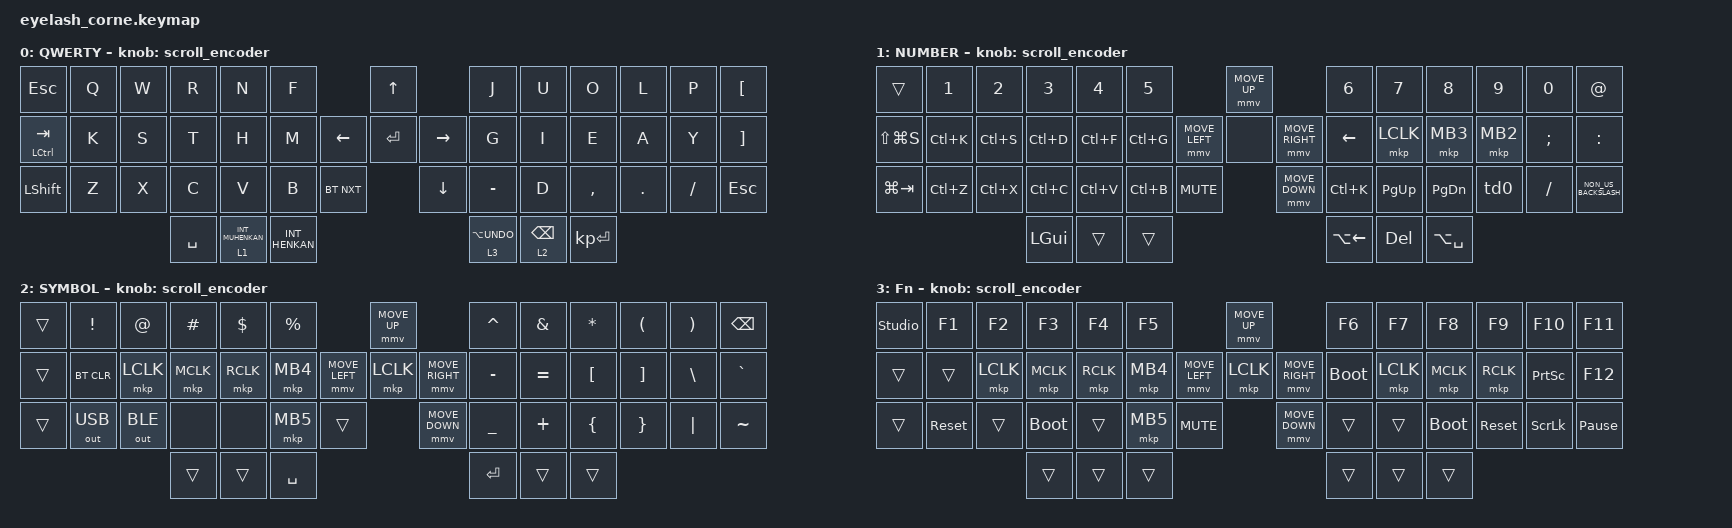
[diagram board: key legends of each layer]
#include <dt-bindings/zmk/mouse.h>
#include <input/processors.dtsi>
#include <behaviors.dtsi>
#include <dt-bindings/zmk/bt.h>
#include <dt-bindings/zmk/keys.h>
#include <dt-bindings/zmk/outputs.h>
#include <dt-bindings/zmk/pointing.h>
#include <dt-bindings/zmk/rgb.h>

/*

   &mmv_input_listener {
       input-processors = <&zip_xy_scaler 2 1>;
   };

   &msc_input_listener {
       input-processors = <&zip_xy_scaler 2 1>;
   };

 */

#define ZMK_MOUSE_DEFAULT_MOVE_VAL 1200  // 600
#define ZMK_MOUSE_DEFAULT_SCRL_VAL 20    // 10

#define COMBO(NAME, BINDINGS, KEYPOS) \
  combo_##NAME { \
    timeout-ms = <50>; \
    bindings = <BINDINGS>; \
    key-positions = <KEYPOS>; \
    layers = <0>; \
  };

/ {
    behaviors {
        td0: td0 {
            compatible = "zmk,behavior-tap-dance";
            display-name = "Shift/Caps Lock Tap Dance";
            #binding-cells = <0>;
            bindings = <&kp LEFT_SHIFT>, <&kp CAPS>;
        };
    };

    rgb_encoder: rgb_encoder {
        compatible = "zmk,behavior-sensor-rotate";
        #sensor-binding-cells = <0>;
        bindings = <&rgb_ug RGB_BRI>, <&rgb_ug RGB_BRD>;
    };

    scroll_encoder: scroll_encoder {
        compatible = "zmk,behavior-sensor-rotate";
        #sensor-binding-cells = <0>;
        bindings = <&msc SCRL_DOWN>, <&msc SCRL_UP>;

        tap-ms = <30>;
    };

    combos {
        compatible = "zmk,combos";

        COMBO(G, &kp G, 42 14)
  COMBO(Z, &kp Z, 42 15)
  COMBO(D, &kp D, 42 16)
  COMBO(B, &kp B, 42 17)
  COMBO(P, &kp P, 42 5)
    };

    macros {
        ann: ann {
            compatible = "zmk,behavior-macro";
            #binding-cells = <0>;
            bindings = <&kp A &kp N &kp N>;
            label = "ANN";
        };

        inn: inn {
            compatible = "zmk,behavior-macro";
            #binding-cells = <0>;
            bindings = <&kp I &kp N &kp N>;
            label = "INN";
        };

        unn: unn {
            compatible = "zmk,behavior-macro";
            #binding-cells = <0>;
            bindings = <&kp U &kp N &kp N>;
            label = "UNN";
        };

        enn: enn {
            compatible = "zmk,behavior-macro";
            #binding-cells = <0>;
            bindings = <&kp E &kp N &kp N>;
            label = "ENN";
        };

        onn: onn {
            compatible = "zmk,behavior-macro";
            #binding-cells = <0>;
            bindings = <&kp O &kp N &kp N>;
            label = "ONN";
        };

        // k行

        kann: kann {
            compatible = "zmk,behavior-macro";
            #binding-cells = <0>;
            bindings = <&kp K &kp A &kp N &kp N>;
            label = "KANN";
        };

        kinn: kinn {
            compatible = "zmk,behavior-macro";
            #binding-cells = <0>;
            bindings = <&kp K &kp I &kp N &kp N>;
            label = "KINN";
        };

        kunn: kunn {
            compatible = "zmk,behavior-macro";
            #binding-cells = <0>;
            bindings = <&kp K &kp U &kp N &kp N>;
            label = "KUNN";
        };

        kenn: kenn {
            compatible = "zmk,behavior-macro";
            #binding-cells = <0>;
            bindings = <&kp K &kp E &kp N &kp N>;
            label = "KENN";
        };

        konn: konn {
            compatible = "zmk,behavior-macro";
            #binding-cells = <0>;
            bindings = <&kp K &kp O &kp N &kp N>;
            label = "KONN";
        };

        // s行

        sann: sann {
            compatible = "zmk,behavior-macro";
            #binding-cells = <0>;
            bindings = <&kp S &kp A &kp N &kp N>;
            label = "SANN";
        };

        sinn: sinn {
            compatible = "zmk,behavior-macro";
            #binding-cells = <0>;
            bindings = <&kp S &kp I &kp N &kp N>;
            label = "SINN";
        };

        sunn: sunn {
            compatible = "zmk,behavior-macro";
            #binding-cells = <0>;
            bindings = <&kp S &kp U &kp N &kp N>;
            label = "SUNN";
        };

        senn: senn {
            compatible = "zmk,behavior-macro";
            #binding-cells = <0>;
            bindings = <&kp S &kp E &kp N &kp N>;
            label = "SENN";
        };

        sonn: sonn {
            compatible = "zmk,behavior-macro";
            #binding-cells = <0>;
            bindings = <&kp S &kp O &kp N &kp N>;
            label = "SONN";
        };

        // t行

        tann: tann {
            compatible = "zmk,behavior-macro";
            #binding-cells = <0>;
            bindings = <&kp T &kp A &kp N &kp N>;
            label = "TANN";
        };

        tinn: tinn {
            compatible = "zmk,behavior-macro";
            #binding-cells = <0>;
            bindings = <&kp T &kp I &kp N &kp N>;
            label = "TINN";
        };

        tunn: tunn {
            compatible = "zmk,behavior-macro";
            #binding-cells = <0>;
            bindings = <&kp T &kp U &kp N &kp N>;
            label = "TUNN";
        };

        tenn: tenn {
            compatible = "zmk,behavior-macro";
            #binding-cells = <0>;
            bindings = <&kp T &kp E &kp N &kp N>;
            label = "TENN";
        };

        tonn: tonn {
            compatible = "zmk,behavior-macro";
            #binding-cells = <0>;
            bindings = <&kp T &kp O &kp N &kp N>;
            label = "TONN";
        };

        // n行

        nnann: nnann {
            compatible = "zmk,behavior-macro";
            #binding-cells = <0>;
            bindings = <&kp N &kp A &kp N &kp N>;
            label = "NNANN";
        };

        nninn: nninn {
            compatible = "zmk,behavior-macro";
            #binding-cells = <0>;
            bindings = <&kp N &kp I &kp N &kp N>;
            label = "NNINN";
        };

        nnunn: nnunn {
            compatible = "zmk,behavior-macro";
            #binding-cells = <0>;
            bindings = <&kp N &kp U &kp N &kp N>;
            label = "NNUNN";
        };

        nnenn: nnenn {
            compatible = "zmk,behavior-macro";
            #binding-cells = <0>;
            bindings = <&kp N &kp E &kp N &kp N>;
            label = "NNENN";
        };

        nnonn: nnonn {
            compatible = "zmk,behavior-macro";
            #binding-cells = <0>;
            bindings = <&kp N &kp O &kp N &kp N>;
            label = "NNONN";
        };

        // h行

        hann: hann {
            compatible = "zmk,behavior-macro";
            #binding-cells = <0>;
            bindings = <&kp H &kp A &kp N &kp N>;
            label = "HANN";
        };

        hinn: hinn {
            compatible = "zmk,behavior-macro";
            #binding-cells = <0>;
            bindings = <&kp H &kp I &kp N &kp N>;
            label = "HINN";
        };

        hunn: hunn {
            compatible = "zmk,behavior-macro";
            #binding-cells = <0>;
            bindings = <&kp H &kp U &kp N &kp N>;
            label = "HUNN";
        };

        henn: henn {
            compatible = "zmk,behavior-macro";
            #binding-cells = <0>;
            bindings = <&kp H &kp E &kp N &kp N>;
            label = "HENN";
        };

        honn: honn {
            compatible = "zmk,behavior-macro";
            #binding-cells = <0>;
            bindings = <&kp H &kp O &kp N &kp N>;
            label = "HONN";
        };

        // m行

        mann: mann {
            compatible = "zmk,behavior-macro";
            #binding-cells = <0>;
            bindings = <&kp M &kp A &kp N &kp N>;
            label = "MANN";
        };

        minn: minn {
            compatible = "zmk,behavior-macro";
            #binding-cells = <0>;
            bindings = <&kp M &kp I &kp N &kp N>;
            label = "MINN";
        };

        munn: munn {
            compatible = "zmk,behavior-macro";
            #binding-cells = <0>;
            bindings = <&kp M &kp U &kp N &kp N>;
            label = "MUNN";
        };

        menn: menn {
            compatible = "zmk,behavior-macro";
            #binding-cells = <0>;
            bindings = <&kp M &kp E &kp N &kp N>;
            label = "MENN";
        };

        monn: monn {
            compatible = "zmk,behavior-macro";
            #binding-cells = <0>;
            bindings = <&kp M &kp O &kp N &kp N>;
            label = "MONN";
        };

        // y行（y + e は存在しない）

        yann: yann {
            compatible = "zmk,behavior-macro";
            #binding-cells = <0>;
            bindings = <&kp Y &kp A &kp N &kp N>;
            label = "YANN";
        };

        yinn: yinn {
            compatible = "zmk,behavior-macro";
            #binding-cells = <0>;
            bindings = <&kp Y &kp I &kp N &kp N>;
            label = "YINN";
        };

        yunn: yunn {
            compatible = "zmk,behavior-macro";
            #binding-cells = <0>;
            bindings = <&kp Y &kp U &kp N &kp N>;
            label = "YUNN";
        };

        yonn: yonn {
            compatible = "zmk,behavior-macro";
            #binding-cells = <0>;
            bindings = <&kp Y &kp O &kp N &kp N>;
            label = "YONN";
        };

        // r行

        rann: rann {
            compatible = "zmk,behavior-macro";
            #binding-cells = <0>;
            bindings = <&kp R &kp A &kp N &kp N>;
            label = "RANN";
        };

        rinn: rinn {
            compatible = "zmk,behavior-macro";
            #binding-cells = <0>;
            bindings = <&kp R &kp I &kp N &kp N>;
            label = "RINN";
        };

        runn: runn {
            compatible = "zmk,behavior-macro";
            #binding-cells = <0>;
            bindings = <&kp R &kp U &kp N &kp N>;
            label = "RUNN";
        };

        renn: renn {
            compatible = "zmk,behavior-macro";
            #binding-cells = <0>;
            bindings = <&kp R &kp E &kp N &kp N>;
            label = "RENN";
        };

        ronn: ronn {
            compatible = "zmk,behavior-macro";
            #binding-cells = <0>;
            bindings = <&kp R &kp O &kp N &kp N>;
            label = "RONN";
        };

        // w行（実質 wa のみ）

        wann: wann {
            compatible = "zmk,behavior-macro";
            #binding-cells = <0>;
            bindings = <&kp W &kp A &kp N &kp N>;
            label = "WANN";
        };

        // 拗音マクロ定義

        kya_nn: kya_nn {
            compatible = "zmk,behavior-macro";
            #binding-cells = <0>;
            bindings = <&kp K &kp Y &kp A &kp N &kp N>;
            label = "KYA_NN";
        };

        kyu_nn: kyu_nn {
            compatible = "zmk,behavior-macro";
            #binding-cells = <0>;
            bindings = <&kp K &kp Y &kp U &kp N &kp N>;
            label = "KYU_NN";
        };

        kyo_nn: kyo_nn {
            compatible = "zmk,behavior-macro";
            #binding-cells = <0>;
            bindings = <&kp K &kp Y &kp O &kp N &kp N>;
            label = "KYO_NN";
        };

        sha_nn: sha_nn {
            compatible = "zmk,behavior-macro";
            #binding-cells = <0>;
            bindings = <&kp S &kp H &kp A &kp N &kp N>;
            label = "SHA_NN";
        };

        shu_nn: shu_nn {
            compatible = "zmk,behavior-macro";
            #binding-cells = <0>;
            bindings = <&kp S &kp H &kp U &kp N &kp N>;
            label = "SHU_NN";
        };

        sho_nn: sho_nn {
            compatible = "zmk,behavior-macro";
            #binding-cells = <0>;
            bindings = <&kp S &kp H &kp O &kp N &kp N>;
            label = "SHO_NN";
        };

        tya_nn: tya_nn {
            compatible = "zmk,behavior-macro";
            #binding-cells = <0>;
            bindings = <&kp T &kp Y &kp A &kp N &kp N>;
            label = "TYA_NN";
        };

        tyu_nn: tyu_nn {
            compatible = "zmk,behavior-macro";
            #binding-cells = <0>;
            bindings = <&kp T &kp Y &kp U &kp N &kp N>;
            label = "TYU_NN";
        };

        tyo_nn: tyo_nn {
            compatible = "zmk,behavior-macro";
            #binding-cells = <0>;
            bindings = <&kp T &kp Y &kp O &kp N &kp N>;
            label = "TYO_NN";
        };

        nya_nn: nya_nn {
            compatible = "zmk,behavior-macro";
            #binding-cells = <0>;
            bindings = <&kp N &kp Y &kp A &kp N &kp N>;
            label = "NYA_NN";
        };

        nyu_nn: nyu_nn {
            compatible = "zmk,behavior-macro";
            #binding-cells = <0>;
            bindings = <&kp N &kp Y &kp U &kp N &kp N>;
            label = "NYU_NN";
        };

        nyo_nn: nyo_nn {
            compatible = "zmk,behavior-macro";
            #binding-cells = <0>;
            bindings = <&kp N &kp Y &kp O &kp N &kp N>;
            label = "NYO_NN";
        };

        hya_nn: hya_nn {
            compatible = "zmk,behavior-macro";
            #binding-cells = <0>;
            bindings = <&kp H &kp Y &kp A &kp N &kp N>;
            label = "HYA_NN";
        };

        hyu_nn: hyu_nn {
            compatible = "zmk,behavior-macro";
            #binding-cells = <0>;
            bindings = <&kp H &kp Y &kp U &kp N &kp N>;
            label = "HYU_NN";
        };

        hyo_nn: hyo_nn {
            compatible = "zmk,behavior-macro";
            #binding-cells = <0>;
            bindings = <&kp H &kp Y &kp O &kp N &kp N>;
            label = "HYO_NN";
        };

        mya_nn: mya_nn {
            compatible = "zmk,behavior-macro";
            #binding-cells = <0>;
            bindings = <&kp M &kp Y &kp A &kp N &kp N>;
            label = "MYA_NN";
        };

        myu_nn: myu_nn {
            compatible = "zmk,behavior-macro";
            #binding-cells = <0>;
            bindings = <&kp M &kp Y &kp U &kp N &kp N>;
            label = "MYU_NN";
        };

        myo_nn: myo_nn {
            compatible = "zmk,behavior-macro";
            #binding-cells = <0>;
            bindings = <&kp M &kp Y &kp O &kp N &kp N>;
            label = "MYO_NN";
        };

        rya_nn: rya_nn {
            compatible = "zmk,behavior-macro";
            #binding-cells = <0>;
            bindings = <&kp R &kp Y &kp A &kp N &kp N>;
            label = "RYA_NN";
        };

        ryu_nn: ryu_nn {
            compatible = "zmk,behavior-macro";
            #binding-cells = <0>;
            bindings = <&kp R &kp Y &kp U &kp N &kp N>;
            label = "RYU_NN";
        };

        ryo_nn: ryo_nn {
            compatible = "zmk,behavior-macro";
            #binding-cells = <0>;
            bindings = <&kp R &kp Y &kp O &kp N &kp N>;
            label = "RYO_NN";
        };

        ga_nn: ga_nn {
            compatible = "zmk,behavior-macro";
            #binding-cells = <0>;
            bindings = <&kp G &kp A &kp N &kp N>;
            label = "GA_NN";
        };

        gi_nn: gi_nn {
            compatible = "zmk,behavior-macro";
            #binding-cells = <0>;
            bindings = <&kp G &kp I &kp N &kp N>;
            label = "GI_NN";
        };

        gu_nn: gu_nn {
            compatible = "zmk,behavior-macro";
            #binding-cells = <0>;
            bindings = <&kp G &kp U &kp N &kp N>;
            label = "GU_NN";
        };

        ge_nn: ge_nn {
            compatible = "zmk,behavior-macro";
            #binding-cells = <0>;
            bindings = <&kp G &kp E &kp N &kp N>;
            label = "GE_NN";
        };

        go_nn: go_nn {
            compatible = "zmk,behavior-macro";
            #binding-cells = <0>;
            bindings = <&kp G &kp O &kp N &kp N>;
            label = "GO_NN";
        };

        za_nn: za_nn {
            compatible = "zmk,behavior-macro";
            #binding-cells = <0>;
            bindings = <&kp Z &kp A &kp N &kp N>;
            label = "ZA_NN";
        };

        zi_nn: zi_nn {
            compatible = "zmk,behavior-macro";
            #binding-cells = <0>;
            bindings = <&kp Z &kp I &kp N &kp N>;
            label = "ZI_NN";
        };

        zu_nn: zu_nn {
            compatible = "zmk,behavior-macro";
            #binding-cells = <0>;
            bindings = <&kp Z &kp U &kp N &kp N>;
            label = "ZU_NN";
        };

        ze_nn: ze_nn {
            compatible = "zmk,behavior-macro";
            #binding-cells = <0>;
            bindings = <&kp Z &kp E &kp N &kp N>;
            label = "ZE_NN";
        };

        zo_nn: zo_nn {
            compatible = "zmk,behavior-macro";
            #binding-cells = <0>;
            bindings = <&kp Z &kp O &kp N &kp N>;
            label = "ZO_NN";
        };

        da_nn: da_nn {
            compatible = "zmk,behavior-macro";
            #binding-cells = <0>;
            bindings = <&kp D &kp A &kp N &kp N>;
            label = "DA_NN";
        };

        di_nn: di_nn {
            compatible = "zmk,behavior-macro";
            #binding-cells = <0>;
            bindings = <&kp D &kp I &kp N &kp N>;
            label = "DI_NN";
        };

        du_nn: du_nn {
            compatible = "zmk,behavior-macro";
            #binding-cells = <0>;
            bindings = <&kp D &kp U &kp N &kp N>;
            label = "DU_NN";
        };

        de_nn: de_nn {
            compatible = "zmk,behavior-macro";
            #binding-cells = <0>;
            bindings = <&kp D &kp E &kp N &kp N>;
            label = "DE_NN";
        };

        do_nn: do_nn {
            compatible = "zmk,behavior-macro";
            #binding-cells = <0>;
            bindings = <&kp D &kp O &kp N &kp N>;
            label = "DO_NN";
        };

        ba_nn: ba_nn {
            compatible = "zmk,behavior-macro";
            #binding-cells = <0>;
            bindings = <&kp B &kp A &kp N &kp N>;
            label = "BA_NN";
        };

        bi_nn: bi_nn {
            compatible = "zmk,behavior-macro";
            #binding-cells = <0>;
            bindings = <&kp B &kp I &kp N &kp N>;
            label = "BI_NN";
        };

        bu_nn: bu_nn {
            compatible = "zmk,behavior-macro";
            #binding-cells = <0>;
            bindings = <&kp B &kp U &kp N &kp N>;
            label = "BU_NN";
        };

        be_nn: be_nn {
            compatible = "zmk,behavior-macro";
            #binding-cells = <0>;
            bindings = <&kp B &kp E &kp N &kp N>;
            label = "BE_NN";
        };

        bo_nn: bo_nn {
            compatible = "zmk,behavior-macro";
            #binding-cells = <0>;
            bindings = <&kp B &kp O &kp N &kp N>;
            label = "BO_NN";
        };

        pa_nn: pa_nn {
            compatible = "zmk,behavior-macro";
            #binding-cells = <0>;
            bindings = <&kp P &kp A &kp N &kp N>;
            label = "PA_NN";
        };

        pi_nn: pi_nn {
            compatible = "zmk,behavior-macro";
            #binding-cells = <0>;
            bindings = <&kp P &kp I &kp N &kp N>;
            label = "PI_NN";
        };

        pu_nn: pu_nn {
            compatible = "zmk,behavior-macro";
            #binding-cells = <0>;
            bindings = <&kp P &kp U &kp N &kp N>;
            label = "PU_NN";
        };

        pe_nn: pe_nn {
            compatible = "zmk,behavior-macro";
            #binding-cells = <0>;
            bindings = <&kp P &kp E &kp N &kp N>;
            label = "PE_NN";
        };

        po_nn: po_nn {
            compatible = "zmk,behavior-macro";
            #binding-cells = <0>;
            bindings = <&kp P &kp O &kp N &kp N>;
            label = "PO_NN";
        };

        gya_nn: gya_nn {
            compatible = "zmk,behavior-macro";
            #binding-cells = <0>;
            bindings = <&kp G &kp Y &kp A &kp N &kp N>;
            label = "GYA_NN";
        };

        gyu_nn: gyu_nn {
            compatible = "zmk,behavior-macro";
            #binding-cells = <0>;
            bindings = <&kp G &kp Y &kp U &kp N &kp N>;
            label = "GYU_NN";
        };

        gyo_nn: gyo_nn {
            compatible = "zmk,behavior-macro";
            #binding-cells = <0>;
            bindings = <&kp G &kp Y &kp O &kp N &kp N>;
            label = "GYO_NN";
        };

        ja_nn: ja_nn {
            compatible = "zmk,behavior-macro";
            #binding-cells = <0>;
            bindings = <&kp J &kp A &kp N &kp N>;
            label = "JA_NN";
        };

        ju_nn: ju_nn {
            compatible = "zmk,behavior-macro";
            #binding-cells = <0>;
            bindings = <&kp J &kp U &kp N &kp N>;
            label = "JU_NN";
        };

        jo_nn: jo_nn {
            compatible = "zmk,behavior-macro";
            #binding-cells = <0>;
            bindings = <&kp J &kp O &kp N &kp N>;
            label = "JO_NN";
        };

        bya_nn: bya_nn {
            compatible = "zmk,behavior-macro";
            #binding-cells = <0>;
            bindings = <&kp B &kp Y &kp A &kp N &kp N>;
            label = "BYA_NN";
        };

        byu_nn: byu_nn {
            compatible = "zmk,behavior-macro";
            #binding-cells = <0>;
            bindings = <&kp B &kp Y &kp U &kp N &kp N>;
            label = "BYU_NN";
        };

        byo_nn: byo_nn {
            compatible = "zmk,behavior-macro";
            #binding-cells = <0>;
            bindings = <&kp B &kp Y &kp O &kp N &kp N>;
            label = "BYO_NN";
        };

        pya_nn: pya_nn {
            compatible = "zmk,behavior-macro";
            #binding-cells = <0>;
            bindings = <&kp P &kp Y &kp A &kp N &kp N>;
            label = "PYA_NN";
        };

        pyu_nn: pyu_nn {
            compatible = "zmk,behavior-macro";
            #binding-cells = <0>;
            bindings = <&kp P &kp Y &kp U &kp N &kp N>;
            label = "PYU_NN";
        };

        pyo_nn: pyo_nn {
            compatible = "zmk,behavior-macro";
            #binding-cells = <0>;
            bindings = <&kp P &kp Y &kp O &kp N &kp N>;
            label = "PYO_NN";
        };

        ka: ka {
            compatible = "zmk,behavior-macro";
            #binding-cells = <0>;
            bindings = <&kp K &kp A>;
            label = "KA";
        };
    };

    keymap {
        compatible = "zmk,keymap";

        default_layer {
            display-name = "QWERTY";
            bindings = <
&kp ESC         &kp Q  &kp W  &kp R      &kp N               &kp F                                   &kp UP                &kp J             &kp U            &kp O         &kp L    &kp P     &kp LEFT_BRACKET
&mt LCTRL TAB   &kp K  &kp S  &kp T      &kp H               &kp M                         &kp LEFT  &kp ENTER  &kp RIGHT  &kp G             &kp I            &kp E         &kp A    &kp Y     &kp RIGHT_BRACKET
&kp LEFT_SHIFT  &kp Z  &kp X  &kp C      &kp V               &kp B           &bt BT_NXT              &kp DOWN              &kp MINUS         &kp D            &kp COMMA     &kp DOT  &kp FSLH  &kp ESC
                              &kp SPACE  &lt 1 INT_MUHENKAN  &kp INT_HENKAN                                                &lt 3 LA(K_UNDO)  &lt 2 BACKSPACE  &kp KP_ENTER
            >;

            sensor-bindings = <&scroll_encoder>;
        };

        lower_layer {
            display-name = "NUMBER";
            bindings = <
&trans         &kp N1     &kp N2     &kp N3        &kp N4     &kp N5                                   &mmv MOVE_UP                     &kp N6        &kp N7       &kp N8         &kp N9    &kp N0         &kp AT_SIGN
&kp LS(LG(S))  &kp LC(K)  &kp LC(S)  &kp LC(D)     &kp LC(F)  &kp LC(G)                &mmv MOVE_LEFT  &none           &mmv MOVE_RIGHT  &kp LEFT      &mkp LCLK    &mkp MB3       &mkp MB2  &kp SEMICOLON  &kp COLON
&kp LG(TAB)    &kp LC(Z)  &kp LC(X)  &kp LC(C)     &kp LC(V)  &kp LC(B)  &kp C_MUTE                    &mmv MOVE_DOWN                   &kp LC(K)     &kp PAGE_UP  &kp PAGE_DOWN  &td0      &kp SLASH      &kp NON_US_BACKSLASH
                                     &kp LEFT_GUI  &trans     &trans                                                                    &kp LA(LEFT)  &kp DEL      &kp LA(SPACE)
            >;

            sensor-bindings = <&scroll_encoder>;
        };

        raise_layer {
            display-name = "SYMBOL";
            bindings = <
&trans  &kp EXCL      &kp AT        &kp HASH   &kp DLLR   &kp PRCNT                            &mmv MOVE_UP                     &kp CARET  &kp AMPS   &kp ASTRK  &kp LPAR  &kp RPAR  &kp BSPC
&trans  &bt BT_CLR    &mkp LCLK     &mkp MCLK  &mkp RCLK  &mkp MB4             &mmv MOVE_LEFT  &mkp LCLK       &mmv MOVE_RIGHT  &kp MINUS  &kp EQUAL  &kp LBKT   &kp RBKT  &kp BSLH  &kp GRAVE
&trans  &out OUT_USB  &out OUT_BLE  &none      &none      &mkp MB5   &trans                    &mmv MOVE_DOWN                   &kp UNDER  &kp PLUS   &kp LBRC   &kp RBRC  &kp PIPE  &kp TILDE
                                    &trans     &trans     &kp SPACE                                                             &kp RET    &trans     &trans
            >;

            sensor-bindings = <&scroll_encoder>;
        };

        layer_3 {
            display-name = "Fn";
            bindings = <
&studio_unlock  &kp F1      &kp F2     &kp F3       &kp F4     &kp F5                                  &mmv MOVE_UP                     &kp F6       &kp F7     &kp F8       &kp F9      &kp F10          &kp F11
&trans          &trans      &mkp LCLK  &mkp MCLK    &mkp RCLK  &mkp MB4                &mmv MOVE_LEFT  &mkp LCLK       &mmv MOVE_RIGHT  &bootloader  &mkp LCLK  &mkp MCLK    &mkp RCLK   &kp PRINTSCREEN  &kp F12
&trans          &sys_reset  &trans     &bootloader  &trans     &mkp MB5  &kp C_MUTE                    &mmv MOVE_DOWN                   &trans       &trans     &bootloader  &sys_reset  &kp SCROLLLOCK   &kp PAUSE_BREAK
                                       &trans       &trans     &trans                                                                   &trans       &trans     &trans
            >;

            sensor-bindings = <&scroll_encoder>;
        };
    };
};
